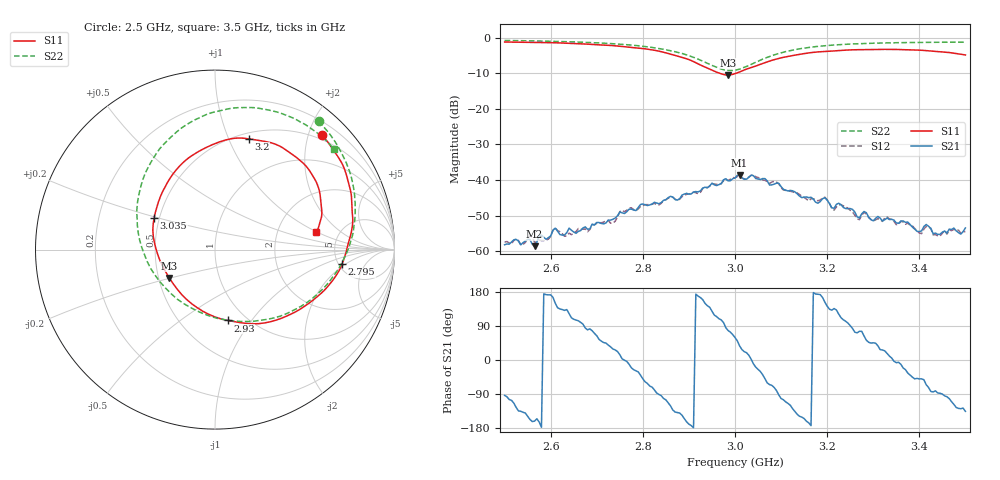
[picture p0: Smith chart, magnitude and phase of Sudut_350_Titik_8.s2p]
# Hz S RI R 50
! CMT, C1220, 16058040, 17.2.0/1
! Date: 15/08/2018 09:59:20
! Data: Format (Calibration Info)
! Freq  S11: Re/Im (F2)  S21: Re/Im (F2)  S12: Re/Im (F2)  S22: Re/Im (F2)
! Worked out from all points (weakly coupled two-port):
!   201 points, 2.5 GHz to 3.5 GHz, reference 50 ohm
!   highest |S21| = -38.64 dB at 3.01 GHz (marker M1); lowest = -58.6 dB at 2.565 GHz (marker M2)
!   lowest |S11| = -10.5 dB at 2.985 GHz (marker M3), VSWR 1.85, Z = 28.5 - j9.89 ohm
!   |S11| at or under -10 dB: 2.967 GHz to 3.002 GHz (34.25 MHz wide, 1.15 % of centre)
!   |S22| runs from -9.2 to -0.7 dB; largest |S21 - S12| = 0.00096
!   S11 on the Smith chart (normalised r, x): 2.5 GHz: 0.42, +2.24; 2.795 GHz: 5.35, -1.77; 2.93 GHz: 0.82, -0.77; 3.035 GHz: 0.47, +0.19; 3.2 GHz: 0.56, +1.19; 3.5 GHz: 3.38, +0.98
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2.5e9  0.5976 0.6367  -7.12e-05 -0.00123  -4.23e-05 -0.00134  0.5772 0.7139
2.55e9  0.6529 0.5638  -0.00125 -0.000767  -0.00122 -0.000918  0.6331 0.6519
2.565e9  0.6692 0.5406  -0.00111 -0.000378  -0.00133 -0.000202  0.6485 0.6309
2.61e9  0.7162 0.4614  -0.00182 0.00106  -0.00185 0.00103  0.6942 0.5579
2.63e9  0.7326 0.4149  -0.0011 0.00127  -0.000919 0.00134  0.7128 0.5225
2.67e9  0.7571 0.3191  -0.000172 0.00211  -2.7e-06 0.00204  0.7482 0.44
2.795e9  0.7078 -0.0815  0.00348 -0.00292  0.00322 -0.00276  0.7646 0.0742
2.835e9  0.6081 -0.2277  -8.15e-05 -0.00464  1.83e-05 -0.00447  0.7031 -0.08
2.93e9  0.0699 -0.3946  -0.00722 0.00274  -0.00722 0.00234  0.2545 -0.3939
2.985e9  -0.2541 -0.1581  0.00206 0.00952  0.00165 0.00973  -0.175 -0.3005
3e9  -0.3086 -0.0561  0.00546 0.0092  0.00591 0.00893  -0.277 -0.2127
3.01e9  -0.3307 0.0116  0.00933 0.00705  0.0088 0.00684  -0.3335 -0.143
3.035e9  -0.3395 0.1742  0.0117 0.000456  0.0116 0.000628  -0.4197 0.0526
3.1e9  -0.1664 0.4951  -0.00164 -0.00791  -0.00195 -0.00754  -0.3426 0.5106
3.17e9  0.0917 0.6177  -0.00538 0.000191  -0.00544 -0.000302  -0.0725 0.7414
3.2e9  0.1877 0.6169  -0.00412 0.00322  -0.00397 0.00348  0.0395 0.7763
3.27e9  0.3794 0.5658  0.000721 0.00285  0.000628 0.0027  0.2604 0.7847
3.28e9  0.4014 0.5507  0.00161 0.00323  0.00143 0.0032  0.2871 0.7798
3.335e9  0.5076 0.465  0.00274 0.00051  0.00282 0.000347  0.4137 0.742
3.415e9  0.5854 0.3062  0.000993 -0.00215  0.000997 -0.00199  0.5545 0.6612
3.44e9  0.5929 0.2414  8.91e-05 -0.00171  0.000109 -0.00164  0.5908 0.6326
3.5e9  0.5654 0.0969  -0.00151 -0.00149  -0.00144 -0.00123  0.663 0.5597
